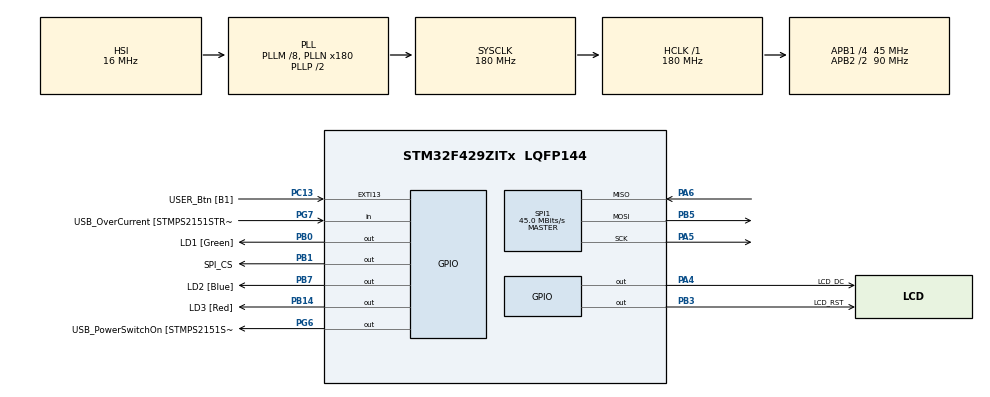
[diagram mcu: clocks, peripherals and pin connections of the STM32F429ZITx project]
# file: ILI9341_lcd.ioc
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Dma.Request0=SPI1_TX
Dma.SPI1_TX.0.Direction=DMA_MEMORY_TO_PERIPH
Dma.SPI1_TX.0.FIFOMode=DMA_FIFOMODE_DISABLE
Dma.SPI1_TX.0.Instance=DMA2_Stream3
Dma.SPI1_TX.0.MemDataAlignment=DMA_MDATAALIGN_BYTE
Dma.SPI1_TX.0.MemInc=DMA_MINC_ENABLE
Dma.SPI1_TX.0.Mode=DMA_NORMAL
Dma.SPI1_TX.0.PeriphDataAlignment=DMA_PDATAALIGN_BYTE
Dma.SPI1_TX.0.PeriphInc=DMA_PINC_DISABLE
Dma.SPI1_TX.0.Priority=DMA_PRIORITY_LOW
Mcu.Family=STM32F4
Mcu.Name=STM32F429ZITx
Mcu.Package=LQFP144
NVIC.DMA2_Stream3_IRQn=true\:0\:0\:false\:false\:true\:false\:true
NVIC.PriorityGroup=NVIC_PRIORITYGROUP_4
NVIC.SPI1_IRQn=true\:0\:0\:false\:false\:true\:true\:true
PA1.GPIO_Label=RMII_REF_CLK [LAN8742A-CZ-TR_REFCLK0]
PA1.Signal=ETH_REF_CLK
PA10.GPIO_Label=USB_ID
PA10.Signal=USB_OTG_FS_ID
PA11.GPIO_Label=USB_DM
PA11.Signal=USB_OTG_FS_DM
PA12.GPIO_Label=USB_DP
PA12.Signal=USB_OTG_FS_DP
PA13.GPIO_Label=TMS
PA13.Mode=Serial_Wire
PA13.Signal=SYS_JTMS-SWDIO
PA14.GPIO_Label=TCK
PA14.Mode=Serial_Wire
PA14.Signal=SYS_JTCK-SWCLK
PA2.GPIO_Label=RMII_MDIO [LAN8742A-CZ-TR_MDIO]
PA2.Signal=ETH_MDIO
PA4.GPIO_Label=LCD_DC
PA4.Signal=GPIO_Output
PA5.Mode=Full_Duplex_Master
PA5.Signal=SPI1_SCK
PA6.Mode=Full_Duplex_Master
PA6.Signal=SPI1_MISO
PA7.GPIO_Label=RMII_CRS_DV [LAN8742A-CZ-TR_CRS_DV]
PA7.Signal=ETH_CRS_DV
PA8.GPIO_Label=USB_SOF [TP1]
PA8.Signal=USB_OTG_FS_SOF
PA9.GPIO_Label=USB_VBUS
PA9.Signal=USB_OTG_FS_VBUS
PB0.GPIO_Label=LD1 [Green]
PB0.Signal=GPIO_Output
PB1.GPIO_Label=SPI_CS
PB1.Signal=GPIO_Output
PB13.GPIO_Label=RMII_TXD1 [LAN8742A-CZ-TR_TXD1]
PB13.Signal=ETH_TXD1
PB14.GPIO_Label=LD3 [Red]
PB14.Signal=GPIO_Output
PB3.GPIO_Label=LCD_RST
PB3.Signal=GPIO_Output
PB5.Mode=Full_Duplex_Master
PB5.Signal=SPI1_MOSI
PB7.GPIO_Label=LD2 [Blue]
PB7.Signal=GPIO_Output
PC1.GPIO_Label=RMII_MDC [LAN8742A-CZ-TR_MDC]
PC1.Signal=ETH_MDC
PC13.GPIO_Label=USER_Btn [B1]
PC13.Signal=GPXTI13
PC14/OSC32_IN.Signal=RCC_OSC32_IN
PC15/OSC32_OUT.Signal=RCC_OSC32_OUT
PC4.GPIO_Label=RMII_RXD0 [LAN8742A-CZ-TR_RXD0]
PC4.Signal=ETH_RXD0
PC5.GPIO_Label=RMII_RXD1 [LAN8742A-CZ-TR_RXD1]
PC5.Signal=ETH_RXD1
PD8.GPIO_Label=STLK_RX [STM32F103CBT6_PA3]
PD8.Signal=USART3_TX
PD9.GPIO_Label=STLK_TX [STM32F103CBT6_PA2]
PD9.Signal=USART3_RX
PG11.GPIO_Label=RMII_TX_EN [LAN8742A-CZ-TR_TXEN]
PG11.Signal=ETH_TX_EN
PG13.GPIO_Label=RMII_TXD0 [LAN8742A-CZ-TR_TXD0]
PG13.Signal=ETH_TXD0
PG6.GPIO_Label=USB_PowerSwitchOn [STMPS2151STR_EN]
PG6.Signal=GPIO_Output
PG7.GPIO_Label=USB_OverCurrent [STMPS2151STR_FAULT]
PG7.Signal=GPIO_Input
PH0/OSC_IN.GPIO_Label=MCO [STM32F103CBT6_PA8]
PH0/OSC_IN.Signal=RCC_OSC_IN
PH1/OSC_OUT.Signal=RCC_OSC_OUT
ProjectManager.HeapSize=0x200
ProjectManager.StackSize=0x400
ProjectManager.TargetToolchain=STM32CubeIDE
RCC.48MHZClocksFreq_Value=90000000
RCC.AHBFreq_Value=180000000
RCC.APB1CLKDivider=RCC_HCLK_DIV4
RCC.APB1Freq_Value=45000000
RCC.APB1TimFreq_Value=90000000
RCC.APB2CLKDivider=RCC_HCLK_DIV2
RCC.APB2Freq_Value=90000000
RCC.APB2TimFreq_Value=180000000
RCC.CortexFreq_Value=180000000
RCC.HCLKFreq_Value=180000000
RCC.HSE_VALUE=8000000
RCC.HSI_VALUE=16000000
RCC.LSE_VALUE=32768
RCC.PLLM=8
RCC.PLLMUL=RCC_PLL_MUL9
RCC.PLLN=180
RCC.PRESCALERUSB=RCC_USBCLKSOURCE_PLL_DIV1_5
RCC.SYSCLKFreq_VALUE=180000000
RCC.SYSCLKSource=RCC_SYSCLKSOURCE_PLLCLK
RCC.SYSCLKSourceVirtual=RCC_SYSCLKSOURCE_PLLCLK
RCC.USBFreq_Value=48000000
RCC.VCOOutputFreq_Value=360000000
SPI1.BaudRatePrescaler=SPI_BAUDRATEPRESCALER_2
SPI1.CalculateBaudRate=45.0 MBits/s
SPI1.Direction=SPI_DIRECTION_2LINES
SPI1.Mode=SPI_MODE_MASTER
SPI1.VirtualType=VM_MASTER
board=NUCLEO-F429ZI

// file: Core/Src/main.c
/* USER CODE BEGIN Header */
/**
  ******************************************************************************
  * @file           : main.c
  * @brief          : Main program body
  ******************************************************************************
  * @attention
  *
  * <h2><center>&copy; Copyright (c) 2021 STMicroelectronics.
  * All rights reserved.</center></h2>
  *
  * This software component is licensed by ST under BSD 3-Clause license,
  * the "License"; You may not use this file except in compliance with the
  * License. You may obtain a copy of the License at:
  *                        opensource.org/licenses/BSD-3-Clause
  *
  ******************************************************************************
  */
/* USER CODE END Header */
#include "main.h"
#include "dma.h"
#include "spi.h"
#include "gpio.h"

/* USER CODE BEGIN Includes */
#include "string.h"
#include "stdlib.h"
#include "ili9341.h"
#include "ili9341_gfx.h"
#include "lvgl.h"
#include "LVGL_Interface.h"
#include "examples/lv_examples.h"
/* USER CODE END Includes */

void SystemClock_Config(void);

int main(void)
{

  /* MCU Configuration--------------------------------------------------------*/

  /* Reset of all peripherals, Initializes the Flash interface and the Systick. */
  HAL_Init();

  /* Configure the system clock */
  SystemClock_Config();

  /* Initialize all configured peripherals */
  MX_GPIO_Init();
  MX_DMA_Init();
  MX_SPI1_Init();
  /* USER CODE BEGIN 2 */
  HAL_GPIO_WritePin(LD3_GPIO_Port, LD3_Pin, 1);
  lv_init();
  HAL_GPIO_WritePin(LD2_GPIO_Port, LD2_Pin, 1);
  disp_driver_init();
  HAL_Delay(2000);
  lv_example_anim_2();
  HAL_GPIO_WritePin(LD1_GPIO_Port, LD1_Pin, 1);
  /* USER CODE END 2 */

  /* Infinite loop */
  while (1)
  {

    /* USER CODE BEGIN 3 */
	  HAL_Delay(3);
	  lv_task_handler();
//	  ili9341_buff(_lcd, (uint16_t *) epd_bitmap_index, 0, 0, _lcd->screen_size.width, _lcd->screen_size.height);
  }
  /* USER CODE END 3 */
}

void SystemClock_Config(void)
{
  RCC_OscInitTypeDef RCC_OscInitStruct = {0};
  RCC_ClkInitTypeDef RCC_ClkInitStruct = {0};

  /** Configure the main internal regulator output voltage
  */
  __HAL_RCC_PWR_CLK_ENABLE();
  __HAL_PWR_VOLTAGESCALING_CONFIG(PWR_REGULATOR_VOLTAGE_SCALE1);
  /** Initializes the RCC Oscillators according to the specified parameters
  * in the RCC_OscInitTypeDef structure.
  */
  RCC_OscInitStruct.OscillatorType = RCC_OSCILLATORTYPE_HSI;
  RCC_OscInitStruct.HSIState = RCC_HSI_ON;
  RCC_OscInitStruct.HSICalibrationValue = RCC_HSICALIBRATION_DEFAULT;
  RCC_OscInitStruct.PLL.PLLState = RCC_PLL_ON;
  RCC_OscInitStruct.PLL.PLLSource = RCC_PLLSOURCE_HSI;
  RCC_OscInitStruct.PLL.PLLM = 8;
  RCC_OscInitStruct.PLL.PLLN = 180;
  RCC_OscInitStruct.PLL.PLLP = RCC_PLLP_DIV2;
  RCC_OscInitStruct.PLL.PLLQ = 4;
  if (HAL_RCC_OscConfig(&RCC_OscInitStruct) != HAL_OK)
  {
    Error_Handler();
  }
  /** Activate the Over-Drive mode
  */
  if (HAL_PWREx_EnableOverDrive() != HAL_OK)
  {
    Error_Handler();
  }
  /** Initializes the CPU, AHB and APB buses clocks
  */
  RCC_ClkInitStruct.ClockType = RCC_CLOCKTYPE_HCLK|RCC_CLOCKTYPE_SYSCLK
                              |RCC_CLOCKTYPE_PCLK1|RCC_CLOCKTYPE_PCLK2;
  RCC_ClkInitStruct.SYSCLKSource = RCC_SYSCLKSOURCE_PLLCLK;
  RCC_ClkInitStruct.AHBCLKDivider = RCC_SYSCLK_DIV1;
  RCC_ClkInitStruct.APB1CLKDivider = RCC_HCLK_DIV4;
  RCC_ClkInitStruct.APB2CLKDivider = RCC_HCLK_DIV2;

  if (HAL_RCC_ClockConfig(&RCC_ClkInitStruct, FLASH_LATENCY_5) != HAL_OK)
  {
    Error_Handler();
  }
}

void Error_Handler(void)
{
  __disable_irq();
  while (1)
  {
  }
}
